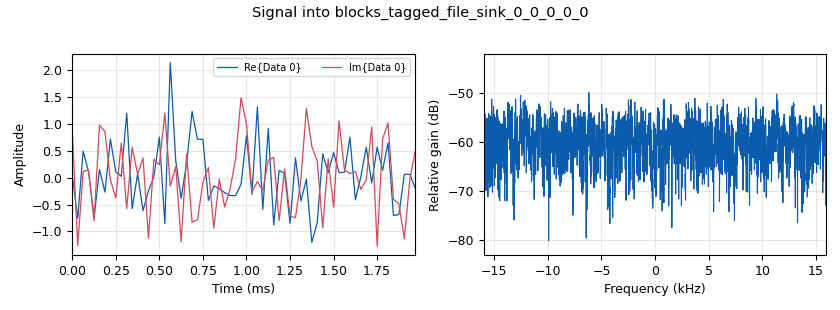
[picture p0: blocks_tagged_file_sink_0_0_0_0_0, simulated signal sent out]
options:
  parameters:
    generate_options: qt_gui
    id: testTagModule
    output_language: python
    title: Not titled yet
  states: {}

blocks:
- name: burst
  id: variable_qtgui_push_button
  parameters:
    pressed: '1'
    released: '0'
    type: int
    value: '0'
  states: {state: disabled}
- name: burst
  id: variable_qtgui_check_box
  parameters:
    'false': 'False'
    'true': 'True'
    type: bool
    value: 'True'
  states: {}
- name: samp_rate
  id: variable
  parameters:
    value: '32000'
  states: {}
- name: variable_qtgui_label_0
  id: variable_qtgui_label
  parameters:
    label: burst
    type: int
    value: burst
  states: {}
- name: add_tag_module_add_tag_0
  id: add_tag_module_add_tag
  parameters:
    burst: 'True'
  states: {}
- name: analog_fastnoise_source_x_0
  id: analog_fastnoise_source_x
  parameters:
    amp: '1'
    noise_type: analog.GR_GAUSSIAN
    samples: '8192'
    seed: '0'
    type: complex
  states: {}
- name: blocks_tagged_file_sink_0
  id: blocks_tagged_file_sink
  parameters:
    samp_rate: samp_rate
    type: complex
  states: {}
- name: blocks_tagged_file_sink_0_0
  id: blocks_tagged_file_sink
  parameters:
    samp_rate: samp_rate
    type: complex
  states: {}
- name: blocks_tagged_file_sink_0_0_0
  id: blocks_tagged_file_sink
  parameters:
    samp_rate: samp_rate
    type: complex
  states: {}
- name: blocks_tagged_file_sink_0_0_0_0
  id: blocks_tagged_file_sink
  parameters:
    samp_rate: samp_rate
    type: complex
  states: {}
- name: blocks_tagged_file_sink_0_0_0_0_0
  id: blocks_tagged_file_sink
  parameters:
    samp_rate: samp_rate
    type: complex
  states: {}
- name: epy_block_0
  id: epy_block
  parameters:
    _source_code: |
      import numpy as np
      from gnuradio import gr
      import pmt

      class blk(gr.sync_block): 
          def __init__(self, burst=False):
              gr.sync_block.__init__(
                  self,
                  name='Embedded Python Block',
                  in_sig=[np.complex64],
                  out_sig=[np.complex64]
              )
              
              self.burst = burst
              self.burst_state = False

          def work(self, input_items, output_items):
              if self.burst != self.burst_state:        
                  self.burst_state = self.burst
                  key = pmt.intern("burst")
                  value = pmt.from_bool(self.burst_state)
                  for i in range(1):
                      self.add_item_tag(i, self.nitems_written(i), key, value)
                      output_items[i][:] = input_items[i]
              return len(output_items[0])
    burst: burst
  states: {}

connections:
- [add_tag_module_add_tag_0, '0', blocks_tagged_file_sink_0, '0']
- [add_tag_module_add_tag_0, '1', blocks_tagged_file_sink_0_0, '0']
- [add_tag_module_add_tag_0, '2', blocks_tagged_file_sink_0_0_0, '0']
- [add_tag_module_add_tag_0, '3', blocks_tagged_file_sink_0_0_0_0, '0']
- [analog_fastnoise_source_x_0, '0', add_tag_module_add_tag_0, '0']
- [analog_fastnoise_source_x_0, '0', add_tag_module_add_tag_0, '1']
- [analog_fastnoise_source_x_0, '0', add_tag_module_add_tag_0, '2']
- [analog_fastnoise_source_x_0, '0', add_tag_module_add_tag_0, '3']
- [analog_fastnoise_source_x_0, '0', epy_block_0, '0']
- [epy_block_0, '0', blocks_tagged_file_sink_0_0_0_0_0, '0']

metadata:
  file_format: 1
  grc_version: 3.10.7.0
